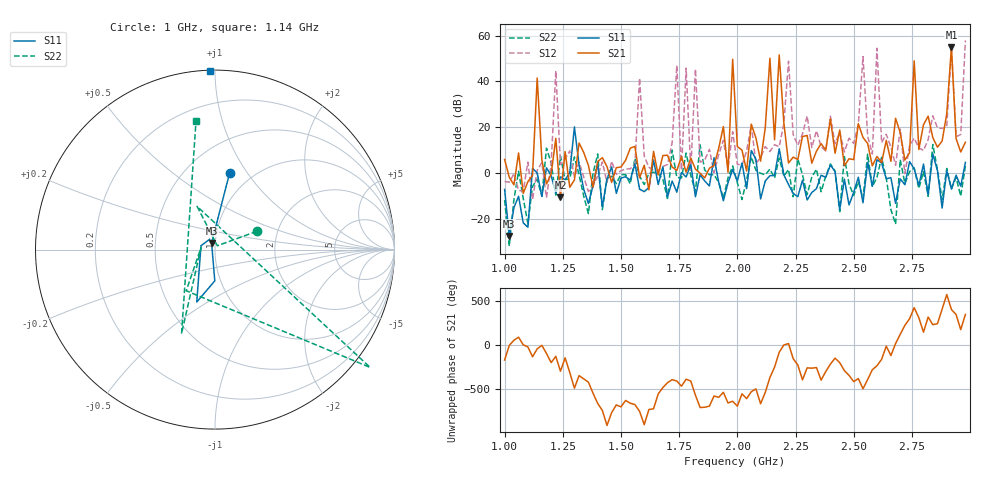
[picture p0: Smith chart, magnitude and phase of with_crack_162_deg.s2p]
# MHz S MA R 50
!  freq  S11  S21  S12  S22
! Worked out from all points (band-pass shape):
!   100 points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, 1 GHz to 2.98 GHz, reference 50 ohm
!   highest |S21| = 54.83 dB at 2.92 GHz (marker M1); lowest = -10.7 dB at 1.24 GHz (marker M2)
!   |S21| within 3 dB of the highest: 2.917926 GHz to 2.921505 GHz (3.579 MHz wide, 0.123 % of centre)
!   lowest |S11| = -27.6 dB at 1.02 GHz (marker M3), VSWR 1.09, Z = 48 + j3.56 ohm
!   |S11| at or under -10 dB: 1.003 GHz to 1.111 GHz (108 MHz wide, 10.2 % of centre); 1.159398 GHz to 1.160494 GHz (1.096 MHz wide, 0.0945 % of centre); 1.349 GHz to 1.369 GHz (19.53 MHz wide, 1.44 % of centre) (the widest 3 of 15)
!   |S22| runs from -32.0 to 12.4 dB; largest |S21 - S12| = 7.8e+02
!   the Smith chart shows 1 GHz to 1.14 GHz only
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1000  0.4368 79.2  1.965 -170.3  0.6492 -174.2  0.255 23.6
1020  0.04163 117.2  0.8042 -3.5  0.6243 -3.0  0.02506 58.8
1240  0.8184 -70.0  0.293 61.8  1.527 73.8  2.329 -31.0
1340  0.4397 100.5  2.789 -25.5  0.8133 -108.9  0.3105 122.6
1660  0.5579 -61.1  0.906 161.6  1.15 117.6  0.9741 -68.8
1980  1.19 -102.7  302.5 78.0  7.945 151.5  1.414 -101.0
2000  0.6624 107.7  3.78 22.0  1.568 48.8  0.6132 134.0
2120  0.6657 -61.8  9.675 179.5  3.762 -8.1  0.9071 -57.5
2140  0.8686 -70.6  319.5 -10.4  2.924 24.8  1.211 -49.1
2160  0.8791 105.8  5.293 108.0  4.14 151.0  0.773 105.5
2180  3.365 82.7  378.4 -81.3  3.731 75.3  2.111 26.8
2200  0.9024 93.4  12.22 2.2  12.06 -2.7  0.8505 105.2
2320  0.3725 64.2  1.629 96.5  3.571 49.4  0.8068 52.2
2540  0.2223 123.4  5.961 -139.3  348.2 -32.4  0.2737 151.5
2580  0.5094 -23.4  1.426 78.8  2.573 94.7  0.5015 118.0
2600  1.946 91.2  2.284 124.1  528.6 25.1  0.8001 87.4
2620  1.641 -166.1  1.681 -162.5  4.572 40.5  2.187 69.5
2660  0.7885 -9.6  1.789 -118.6  3.624 -119.8  0.1574 -78.9
2900  1.118 58.0  19.72 -141.4  10.44 -129.1  1.248 67.3
2920  0.4467 -27.9  551.7 47.2  572.9 19.1  0.4465 -27.9
2960  0.5125 51.8  2.864 177.4  6.91 146.7  0.3111 38.1
2980  1.698 92.8  4.662 -9.2  782.1 -113.5  1.407 85.7
